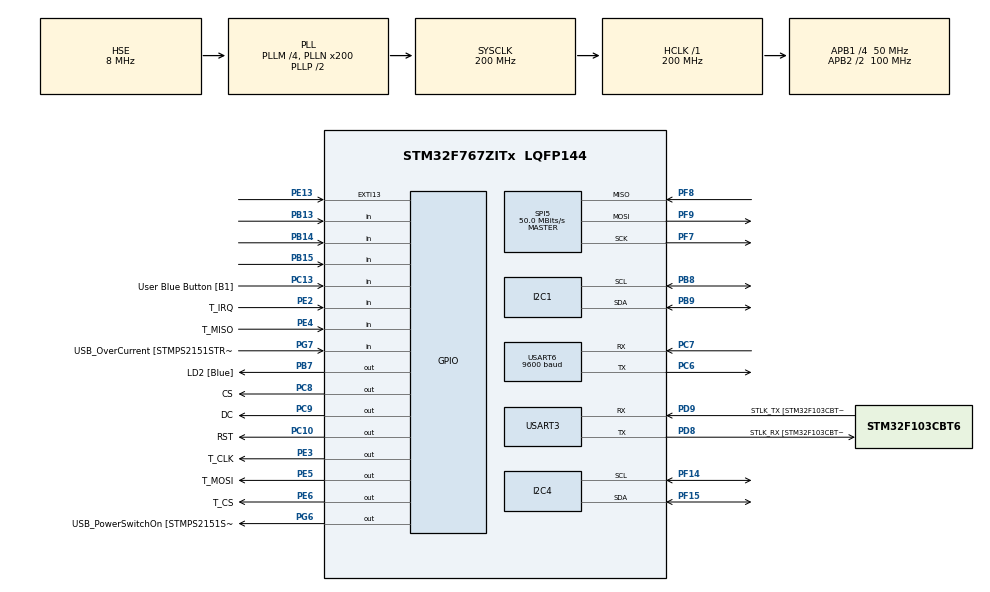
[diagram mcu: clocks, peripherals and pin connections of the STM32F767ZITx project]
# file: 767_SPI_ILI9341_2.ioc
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CORTEX_M7.ART_ACCLERATOR_ENABLE=1
CORTEX_M7.CPU_DCache=Enabled
CORTEX_M7.CPU_ICache=Enabled
CORTEX_M7.PREFETCH_ENABLE=1
I2C1.Timing=0x00C0EAFF
I2C4.Timing=0x00C0EAFF
Mcu.Family=STM32F7
Mcu.Name=STM32F767ZITx
Mcu.Package=LQFP144
NVIC.EXTI15_10_IRQn=true\:0\:0\:false\:false\:true\:true\:true\:true
NVIC.PriorityGroup=NVIC_PRIORITYGROUP_4
NVIC.TIM2_IRQn=true\:0\:0\:false\:false\:true\:true\:true\:true
PA1.GPIO_Label=RMII_REF_CLK [LAN8742A-CZ-TR_REFCLK0]
PA1.Signal=ETH_REF_CLK
PA13.GPIO_Label=TMS
PA13.Mode=Serial_Wire
PA13.Signal=SYS_JTMS-SWDIO
PA14.GPIO_Label=TCK
PA14.Mode=Serial_Wire
PA14.Signal=SYS_JTCK-SWCLK
PA2.GPIO_Label=RMII_MDIO [LAN8742A-CZ-TR_MDIO]
PA2.Signal=ETH_MDIO
PA7.GPIO_Label=RMII_CRS_DV [LAN8742A-CZ-TR_CRS_DV]
PA7.Signal=ETH_CRS_DV
PB13.Signal=GPIO_Input
PB14.Signal=GPIO_Input
PB15.Signal=GPIO_Input
PB3.GPIO_Label=SWO
PB3.Signal=SYS_JTDO-SWO
PB7.GPIO_Label=LD2 [Blue]
PB7.Signal=GPIO_Output
PB8.Mode=I2C
PB8.Signal=I2C1_SCL
PB9.Mode=I2C
PB9.Signal=I2C1_SDA
PC1.GPIO_Label=RMII_MDC [LAN8742A-CZ-TR_MDC]
PC1.Signal=ETH_MDC
PC10.GPIO_Label=RST
PC10.GPIO_Speed=GPIO_SPEED_FREQ_VERY_HIGH
PC10.Signal=GPIO_Output
PC13.GPIO_Label=User Blue Button [B1]
PC13.Signal=GPIO_Input
PC14/OSC32_IN.Mode=LSE-External-Oscillator
PC14/OSC32_IN.Signal=RCC_OSC32_IN
PC15/OSC32_OUT.Mode=LSE-External-Oscillator
PC15/OSC32_OUT.Signal=RCC_OSC32_OUT
PC4.GPIO_Label=RMII_RXD0 [LAN8742A-CZ-TR_RXD0]
PC4.Signal=ETH_RXD0
PC5.GPIO_Label=RMII_RXD1 [LAN8742A-CZ-TR_RXD1]
PC5.Signal=ETH_RXD1
PC6.Mode=Asynchronous
PC6.Signal=USART6_TX
PC7.Mode=Asynchronous
PC7.Signal=USART6_RX
PC8.GPIO_Label=CS
PC8.GPIO_Speed=GPIO_SPEED_FREQ_VERY_HIGH
PC8.Signal=GPIO_Output
PC9.GPIO_Label=DC
PC9.GPIO_Speed=GPIO_SPEED_FREQ_VERY_HIGH
PC9.Signal=GPIO_Output
PD8.GPIO_Label=STLK_RX [STM32F103CBT6_PA3]
PD8.Mode=Asynchronous
PD8.Signal=USART3_TX
PD9.GPIO_Label=STLK_TX [STM32F103CBT6_PA2]
PD9.Mode=Asynchronous
PD9.Signal=USART3_RX
PE13.GPIO_ModeDefaultEXTI=GPIO_MODE_IT_FALLING
PE13.GPIO_PuPd=GPIO_PULLUP
PE13.Signal=GPXTI13
PE2.GPIO_Label=T_IRQ
PE2.Signal=GPIO_Input
PE3.GPIO_Label=T_CLK
PE3.GPIO_Speed=GPIO_SPEED_FREQ_VERY_HIGH
PE3.Signal=GPIO_Output
PE4.GPIO_Label=T_MISO
PE4.Signal=GPIO_Input
PE5.GPIO_Label=T_MOSI
PE5.GPIO_Speed=GPIO_SPEED_FREQ_VERY_HIGH
PE5.Signal=GPIO_Output
PE6.GPIO_Label=T_CS
PE6.GPIO_Speed=GPIO_SPEED_FREQ_VERY_HIGH
PE6.Signal=GPIO_Output
PF14.Mode=I2C
PF14.Signal=I2C4_SCL
PF15.Mode=I2C
PF15.Signal=I2C4_SDA
PF7.Mode=Full_Duplex_Master
PF7.Signal=SPI5_SCK
PF8.Mode=Full_Duplex_Master
PF8.Signal=SPI5_MISO
PF9.Mode=Full_Duplex_Master
PF9.Signal=SPI5_MOSI
PG11.GPIO_Label=RMII_TX_EN [LAN8742A-CZ-TR_TXEN]
PG11.Signal=ETH_TX_EN
PG13.GPIO_Label=RMII_TXD0 [LAN8742A-CZ-TR_TXD0]
PG13.Signal=ETH_TXD0
PG6.GPIO_Label=USB_PowerSwitchOn [STMPS2151STR_EN]
PG6.Signal=GPIO_Output
PG7.GPIO_Label=USB_OverCurrent [STMPS2151STR_FAULT]
PG7.Signal=GPIO_Input
PH0/OSC_IN.GPIO_Label=MCO [STM32F103CBT6_PA8]
PH0/OSC_IN.Mode=HSE-External-Oscillator
PH0/OSC_IN.Signal=RCC_OSC_IN
PH1/OSC_OUT.Mode=HSE-External-Oscillator
PH1/OSC_OUT.Signal=RCC_OSC_OUT
ProjectManager.HeapSize=0x200
ProjectManager.StackSize=0x400
ProjectManager.TargetToolchain=STM32CubeIDE
RCC.48MHZClocksFreq_Value=24000000
RCC.AHBFreq_Value=200000000
RCC.APB1CLKDivider=RCC_HCLK_DIV4
RCC.APB1Freq_Value=50000000
RCC.APB1TimFreq_Value=100000000
RCC.APB2CLKDivider=RCC_HCLK_DIV2
RCC.APB2Freq_Value=100000000
RCC.APB2TimFreq_Value=200000000
RCC.CortexFreq_Value=200000000
RCC.HCLKFreq_Value=200000000
RCC.HSE_VALUE=8000000
RCC.HSI_VALUE=16000000
RCC.PLLM=4
RCC.PLLMUL=RCC_PLL_MUL9
RCC.PLLN=200
RCC.PLLQ=9
RCC.PLLSourceVirtual=RCC_PLLSOURCE_HSE
RCC.PRESCALERUSB=RCC_USBCLKSOURCE_PLL_DIV1_5
RCC.SYSCLKFreq_VALUE=200000000
RCC.SYSCLKSource=RCC_SYSCLKSOURCE_PLLCLK
RCC.SYSCLKSourceVirtual=RCC_SYSCLKSOURCE_PLLCLK
RCC.USBFreq_Value=44444444.44444445
RCC.VCOOutputFreq_Value=400000000
SPI5.CalculateBaudRate=50.0 MBits/s
SPI5.DataSize=SPI_DATASIZE_8BIT
SPI5.Direction=SPI_DIRECTION_2LINES
SPI5.Mode=SPI_MODE_MASTER
SPI5.NSSPMode=SPI_NSS_PULSE_DISABLE
SPI5.VirtualType=VM_MASTER
TIM1.ClockDivision=TIM_CLOCKDIVISION_DIV2
TIM1.Period=0
TIM1.Prescaler=10000-1
TIM2.Period=1000-1
TIM2.Prescaler=100-1
USART3.VirtualMode-Asynchronous=VM_ASYNC
USART6.BaudRate=9600
USART6.VirtualMode-Asynchronous=VM_ASYNC
VP_RNG_VS_RNG.Mode=RNG_Activate
VP_TIM1_VS_ClockSourceINT.Mode=Internal
VP_TIM2_VS_ClockSourceINT.Mode=Internal
board=NUCLEO-F767ZI

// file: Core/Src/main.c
/* USER CODE BEGIN Header */
/**
  ******************************************************************************
  * @file           : main.c
  * @brief          : Main program body
  ******************************************************************************
  * @attention
  *
  * <h2><center>&copy; Copyright (c) 2021 STMicroelectronics.
  * All rights reserved.</center></h2>
  *
  * This software component is licensed by ST under BSD 3-Clause license,
  * the "License"; You may not use this file except in compliance with the
  * License. You may obtain a copy of the License at:
  *                        opensource.org/licenses/BSD-3-Clause
  *
  ******************************************************************************
  */
/* USER CODE END Header */
#include "main.h"
#include "i2c.h"
#include "rng.h"
#include "spi.h"
#include "tim.h"
#include "usart.h"
#include "gpio.h"

/* USER CODE BEGIN Includes */
#include "stdio.h"
#include "ILI9341_Touchscreen.h"

#include "ILI9341_STM32_Driver.h"
#include "ILI9341_GFX.h"

#include "snow_tiger.h"

#include "DFPLAYER_MINI.h"
#include "ds3231_for_stm32_hal.h"
#include "string.h"
//#include "dfr0299.h"
/* USER CODE END Includes */

/* USER CODE BEGIN PM */
uint32_t count = 0;
uint32_t starttime = 0;
uint32_t alarmtime = 0;
uint8_t screen = 1;
uint8_t sec = 0,min = 0,hur = 0,dow = 0,date = 0,month = 0;
uint32_t year = 0;
uint8_t alarmsec = 0,alarmmin = 0,alarmhour = 0;

char *day[7] = { "Sunday", "Monday", "Tuesday", "Wednesday", "Thursday", "Friday", "Saturday" };
char *months[12] = { "January", "February", "March", "April", "May", "June", "July", "August", "September", "October", "November", "December" };

uint8_t seconds ;
uint8_t minutes;
uint8_t hours;

int alarmtrigger = 0;
float temp = 0.0;
float RH = 0.0;
uint8_t step = 0;
HAL_StatusTypeDef status;

uint8_t cmdBuffer[3];
uint8_t dataBuffer[8];

char strS[] ="";
char strM[] ="";
char strH[] ="";
char timedate[50];
char strdow[] ="";
char strdate[] ="";
char strmonth[] ="";
char stryear[] ="";
char strsensor[] ="";

uint16_t CRC16_2(uint8_t * , uint8_t);
/* USER CODE END PM */

/* USER CODE BEGIN PV */
/* Private variables ---------------------------------------------------------*/

/* USER CODE END PV */

void SystemClock_Config(void);
/* USER CODE BEGIN PFP */
/* Private function prototypes -----------------------------------------------*/

/* USER CODE END PFP */

int main(void)
{

  /* Enable I-Cache---------------------------------------------------------*/
  SCB_EnableICache();

  /* Enable D-Cache---------------------------------------------------------*/
  SCB_EnableDCache();

  /* MCU Configuration--------------------------------------------------------*/

  /* Reset of all peripherals, Initializes the Flash interface and the Systick. */
  HAL_Init();

  /* Configure the system clock */
  SystemClock_Config();

  /* Initialize all configured peripherals */
  MX_GPIO_Init();
  MX_USART3_UART_Init();
  MX_SPI5_Init();
  MX_TIM1_Init();
  MX_RNG_Init();
  MX_I2C4_Init();
  MX_TIM2_Init();
  MX_I2C1_Init();
  MX_USART6_UART_Init();
  /* USER CODE BEGIN 2 */
  ILI9341_Init();//initial driver setup to drive ili9341
  HAL_TIM_Base_Start_IT(&htim2);
  DF_Init(30);
  /* USER CODE END 2 */
     DF_PlayFromStart();
     DF_SetEQ(3);
     DS3231_Init(&hi2c4);
    __disable_irq();
    	//Set interrupt mode to square wave mode, enable square wave interrupt at pin 3.
    	DS3231_SetInterruptMode(DS3231_SQUARE_WAVE_INTERRUPT);
    	//Set interrupting frequency to 1 Hz.
    	DS3231_SetRateSelect(DS3231_1HZ);
    	//Enable interrupts after finishing.
    	__enable_irq();

    /* USER CODE END 2 */

    /* Infinite loop */
    /* USER CODE BEGIN WHILE */
    ILI9341_Fill_Screen(WHITE);
    ILI9341_Set_Rotation(SCREEN_HORIZONTAL_1);
     starttime = count;

     cmdBuffer[0] = 0x03;
     cmdBuffer[1] = 0x00;
     cmdBuffer[2] = 0x04;
     //DS3231_SetFullDate(13, 10, 5, 2023);
     DS3231_SetInterruptMode(DS3231_ALARM_INTERRUPT);
     	DS3231_ClearAlarm1Flag();

     	DS3231_EnableAlarm1(DS3231_ENABLED);
     		DS3231_SetAlarm1Mode(DS3231_A1_MATCH_S_M_H);
     		DS3231_SetAlarm1Second(0);
     		DS3231_SetAlarm1Minute(29);
     		DS3231_SetAlarm1Hour(19);
     ILI9341_Draw_Rectangle(0,0, 320,200,  WHITE);
   while (1)
   {
    /* USER CODE END WHILE */

    /* USER CODE BEGIN 3 */
	   if((count-starttime) > 1000 && screen == 1){
	    		updateT();
	    		showT();
	    		starttime = count;
	    	  }

	   Check_Key();

	    if (HAL_GPIO_ReadPin(GPIOC, GPIO_PIN_13) == GPIO_PIN_SET){
	    		 HAL_Delay(50);
	    		if (HAL_GPIO_ReadPin(GPIOC, GPIO_PIN_13) == GPIO_PIN_SET){
	    			DS3231_SetFullTime(21 , 12, 30);
	    		}
	    	 }
		if(alarmtrigger)
			   {
					ILI9341_Fill_Screen(WHITE);
				   alarm();
				   screen = 2;
				   alarmtime = count;
				   alarmtrigger = 0;
				   //HAL_Delay(3000)
			   }
		if(count - alarmtime > 3000 && screen == 2){
			ILI9341_Fill_Screen(WHITE);
			screen = 1;
		}
   }
  /* USER CODE END 3 */
}
void SystemClock_Config(void)
{
  RCC_OscInitTypeDef RCC_OscInitStruct = {0};
  RCC_ClkInitTypeDef RCC_ClkInitStruct = {0};

  /** Configure LSE Drive Capability
  */
  HAL_PWR_EnableBkUpAccess();

  /** Configure the main internal regulator output voltage
  */
  __HAL_RCC_PWR_CLK_ENABLE();
  __HAL_PWR_VOLTAGESCALING_CONFIG(PWR_REGULATOR_VOLTAGE_SCALE1);

  /** Initializes the RCC Oscillators according to the specified parameters
  * in the RCC_OscInitTypeDef structure.
  */
  RCC_OscInitStruct.OscillatorType = RCC_OSCILLATORTYPE_HSE;
  RCC_OscInitStruct.HSEState = RCC_HSE_ON;
  RCC_OscInitStruct.PLL.PLLState = RCC_PLL_ON;
  RCC_OscInitStruct.PLL.PLLSource = RCC_PLLSOURCE_HSE;
  RCC_OscInitStruct.PLL.PLLM = 4;
  RCC_OscInitStruct.PLL.PLLN = 200;
  RCC_OscInitStruct.PLL.PLLP = RCC_PLLP_DIV2;
  RCC_OscInitStruct.PLL.PLLQ = 9;
  RCC_OscInitStruct.PLL.PLLR = 2;
  if (HAL_RCC_OscConfig(&RCC_OscInitStruct) != HAL_OK)
  {
    Error_Handler();
  }

  /** Activate the Over-Drive mode
  */
  if (HAL_PWREx_EnableOverDrive() != HAL_OK)
  {
    Error_Handler();
  }

  /** Initializes the CPU, AHB and APB buses clocks
  */
  RCC_ClkInitStruct.ClockType = RCC_CLOCKTYPE_HCLK|RCC_CLOCKTYPE_SYSCLK
                              |RCC_CLOCKTYPE_PCLK1|RCC_CLOCKTYPE_PCLK2;
  RCC_ClkInitStruct.SYSCLKSource = RCC_SYSCLKSOURCE_PLLCLK;
  RCC_ClkInitStruct.AHBCLKDivider = RCC_SYSCLK_DIV1;
  RCC_ClkInitStruct.APB1CLKDivider = RCC_HCLK_DIV4;
  RCC_ClkInitStruct.APB2CLKDivider = RCC_HCLK_DIV2;

  if (HAL_RCC_ClockConfig(&RCC_ClkInitStruct, FLASH_LATENCY_6) != HAL_OK)
  {
    Error_Handler();
  }
}

/* USER CODE BEGIN 4 */
uint16_t CRC16_2(uint8_t *ptr, uint8_t lenght){
	uint16_t crc = 0xffff;
	uint8_t s = 0x00;

	while (lenght--){
		crc ^= *ptr++;

		for (s = 0 ; s <8 ;s++){
			if ((crc & 0x01) != 0){
				crc >>= 1;
				crc ^= 0xA001;

			}
			else{
				crc >>= 1;
			}
		}
	}
	return crc;
}

void updateSensor() {
			HAL_I2C_Master_Transmit(&hi2c1, 0x5c << 1 , cmdBuffer, 3, 200);

		  	HAL_I2C_Master_Transmit(&hi2c1, 0x5c << 1 , cmdBuffer, 3, 200);

		  	HAL_Delay(1);

		  	// receive sensor data

		  	HAL_I2C_Master_Receive(&hi2c1, 0x5c << 1 , dataBuffer , 8, 200);

		  	uint16_t Rcrc = dataBuffer[7] << 8 ;
		  	Rcrc += dataBuffer[6];

		  	if (Rcrc == CRC16_2(dataBuffer,6)){
		  		uint16_t temperature = ((dataBuffer[4] & 0x7F) << 8 ) + dataBuffer[5];

		  		temp = temperature  / 10.0 ;

		  		temp = (((dataBuffer[4] & 0x80) >> 7 ) == 1)? (temp * (-1)) : temp ;

		  		uint16_t humi = (dataBuffer[2] << 8) + dataBuffer[3] ;
		  		RH = humi / 10.0 ;
		  	}
}

void alarm(){
	ILI9341_Draw_Text("ALARM TRIGGER", 50,50, BLACK, 4, WHITE);
}

 void updateT(){
 	sec = DS3231_GetSecond();
 	min = DS3231_GetMinute();
 	hur = DS3231_GetHour();
 	dow = DS3231_GetDayOfWeek();
 	date = DS3231_GetDate();
 	month = DS3231_GetMonth()-1;
 	year = DS3231_GetYear();

 }
 void showT(){

	updateSensor();

 	sprintf(strH,"%02d",hur);
 	sprintf(strM,"%02d",min);
 	sprintf(strS,"%02d",sec);

 	sprintf(strsensor,"%.1f C %.1f %%RH",temp,RH);
 	//sprintf(strdow,"%s",day[1]);
	//sprintf(strdate,"%d",date);
//	sprintf(strmonth,"%s",months[month]);
	//sprintf(stryear,"%d",year);

 	snprintf(timedate,50,"%d %s %d",date, months[month], year);

 	ILI9341_Draw_Text(strH, 50,50, BLACK, 7, WHITE);
 	ILI9341_Draw_Text(strM, 120,110, BLACK, 7, WHITE);
 	ILI9341_Draw_Text(strS, 190,170, BLACK, 4, WHITE);
 	ILI9341_Draw_Text(day[dow], 10,10 , BLACK, 4, WHITE);
 	ILI9341_Draw_Text(strsensor, 80,40 , BLACK, 2, WHITE);
//	ILI9341_Draw_Text(strdate, 50,210, BLACK, 2, WHITE);
//	ILI9341_Draw_Text(months[month], 80,210, BLACK, 2, WHITE);
//	ILI9341_Draw_Text(stryear, 200,210, BLACK, 2, WHITE);
 	ILI9341_Draw_Text(timedate, 50,210, BLACK, 2, WHITE);

 }
/* USER CODE END 4 */

void Error_Handler(void)
{
  while(1)
  {
  }
}
